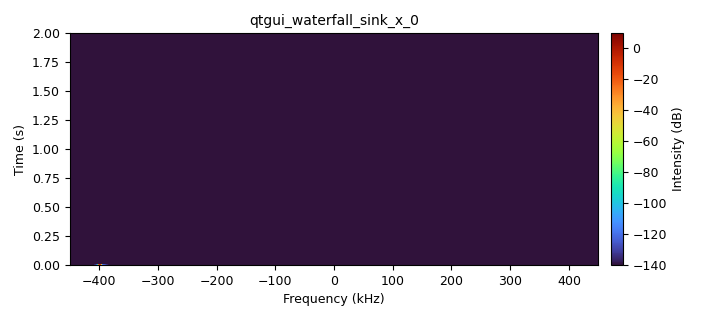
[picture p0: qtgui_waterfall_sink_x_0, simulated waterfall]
options:
  parameters:
    generate_options: qt_gui
    id: Itrigger2_virtual
    output_language: python
    title: Trigger Virtual
  states: {}

blocks:
- name: fftsz
  id: variable
  parameters:
    value: '1024'
  states: {}
- name: freq
  id: variable_qtgui_range
  parameters:
    label: Frequency
    start: '0'
    step: '100'
    stop: samp_rate/2
    value: 1e3
  states: {}
- name: movavg_length
  id: variable_qtgui_range
  parameters:
    label: Moving Average Length
    start: '1000'
    step: '1'
    stop: '16383'
    value: '10000'
  states: {}
- name: samp_rate
  id: variable
  parameters:
    value: 900e3
  states: {}
- name: variable_qtgui_toggle_button_msg_0
  id: variable_qtgui_toggle_button_msg
  parameters:
    initPressed: 'False'
    pressed: '1'
    released: '0'
    type: bool
    value: '0'
  states: {}
- name: analog_sig_source_x_0
  id: analog_sig_source_x
  parameters:
    amp: '1'
    freq: 500e3
    offset: '0'
    phase: '0'
    samp_rate: samp_rate
    type: complex
    waveform: analog.GR_COS_WAVE
  states: {}
- name: blocks_throttle_0
  id: blocks_throttle
  parameters:
    samples_per_second: samp_rate
    type: complex
  states: {}
- name: epy_block_1
  id: epy_block
  parameters:
    _source_code: |
      """
      Embedded Python Blocks:

      Each time this file is saved, GRC will instantiate the first class it finds
      to get ports and parameters of your block. The arguments to __init__  will
      be the parameters. All of them are required to have default values!
      """

      import numpy as np
      import pmt
      from gnuradio import gr


      class blk(gr.sync_block):  # other base classes are basic_block, decim_block, interp_block
          """Embedded Python Block example - a simple multiply const"""

          def __init__(self, slope=100e3, samp_rate=200e6/12):  # only default arguments here
              """arguments to this function show up as parameters in GRC"""
              gr.sync_block.__init__(
                  self,
                  name='Local Chirp Test',   # will show up in GRC
                  in_sig=[np.complex64],
                  out_sig=[np.complex64]
              )
              # if an attribute with the same name as a parameter is found,
              # a callback is registered (properties work, too).
              self.slope = slope
              self.fs = samp_rate
              self.sample_count = 0
              
              self.lastT = 0
              self.lastF = -400e3
              self.dt = 1/self.fs
              self.df = self.slope/self.fs
              
              self.controlPortName = 'controlIn'
              self.message_port_register_in(pmt.intern(self.controlPortName))
              self.set_msg_handler(pmt.intern(self.controlPortName), self.handle_msg)
              self.control = False
              
          def handle_msg(self, msg):
              controlIn = pmt.to_bool(msg)
              
              if controlIn > self.controlLast+self.trigger_Power:
                  self.control = True
              
              self.controlLast = controlIn
              
          def work(self, input_items, output_items):
              n = len(input_items[0]) 
          
              if self.lastT <= 4 & self.control:
                  newT = self.dt*n + self.lastT
                  newF = self.df*n + self.lastF
                      
                  t = np.arange(self.lastT, newT+self.dt, self.dt)
                  f = np.arange(self.lastF, newF+self.df, self.df)
                  
                  for i in range(0, n):
                      output_items[0][i] = np.cos(2*np.pi*f[i]*t[i]) + 1j*np.sin(2*np.pi*f[i]*t[i]) 
                  
                  self.lastT = newT
                  self.lastF = newF
                  
              else:
                  output_items[0][:] = input_items[0] * 0;
              
              return len(output_items[0])
    samp_rate: samp_rate
    slope: 100e3
  states: {}
- name: import_0
  id: import
  parameters:
    imports: import math
  states: {}
- name: qtgui_waterfall_sink_x_0
  id: qtgui_waterfall_sink_x
  parameters:
    bw: samp_rate
    fc: '0'
    fftsize: '1024'
    showports: 'True'
    type: complex
    update_time: '0.01'
  states: {}

connections:
- [analog_sig_source_x_0, '0', blocks_throttle_0, '0']
- [blocks_throttle_0, '0', epy_block_1, '0']
- [epy_block_1, '0', qtgui_waterfall_sink_x_0, '0']
- [variable_qtgui_toggle_button_msg_0, state, epy_block_1, controlIn]

metadata:
  file_format: 1
  grc_version: 3.10.5.0
